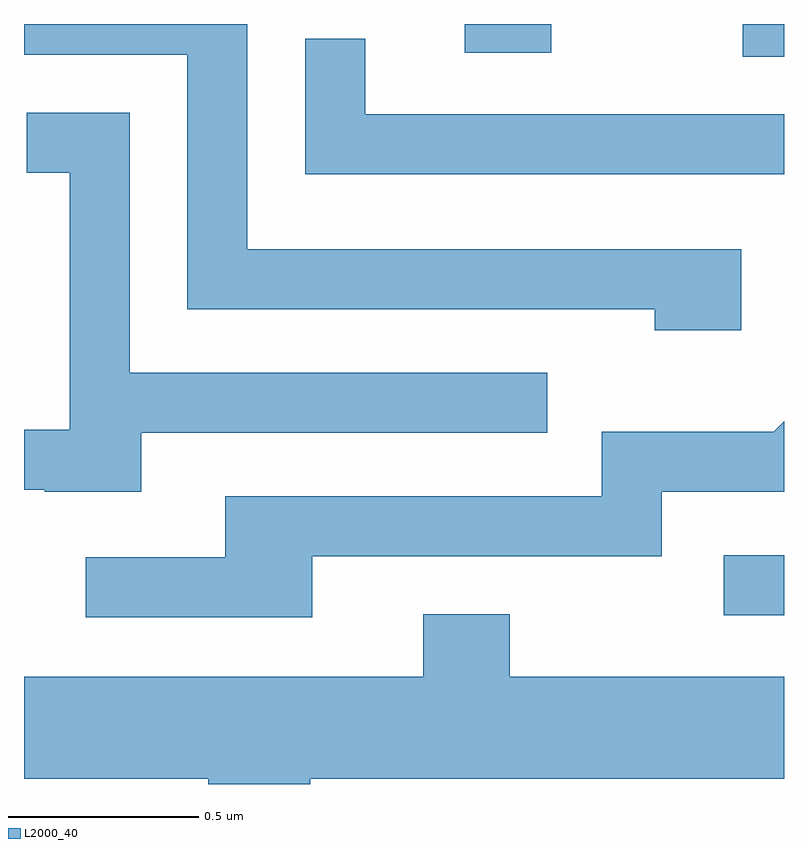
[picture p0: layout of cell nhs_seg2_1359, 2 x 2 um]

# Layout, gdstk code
import gdstk
lib = gdstk.Library(unit=1e-6, precision=1e-09)
def R(c, l, rs):  # rectangles x0, y0, x1, y1
    for r in rs: c.add(gdstk.rectangle(r[:2], r[2:], *l))
def P(c, l, *ps):  # polygons
    for p in ps: c.add(gdstk.Polygon(p, *l))
L2000_40 = (2000, 40)

nhs_seg2_1359 = lib.new_cell('nhs_seg2_1359')
R(nhs_seg2_1359, L2000_40, [(196.453,1104.246,196.611,1104.404), (196.503,1105.716,196.611,1105.802), (195.771,1105.726,195.999,1105.802)])
P(nhs_seg2_1359, L2000_40, [(196.499,1105.209),(195.199,1105.209),(195.199,1105.802),(194.611,1105.802),(194.611,1105.721),(195.041,1105.721),(195.041,1105.051),(196.271,1105.051),(196.271,1104.996),(196.499,1104.996)],
  [(196.611,1105.564),(195.509,1105.564),(195.509,1105.763),(195.351,1105.763),(195.351,1105.406),(196.611,1105.406)],
  [(194.919,1104.726),(195.988,1104.726),(195.988,1104.884),(194.889,1104.884),(194.889,1105.569),(194.618,1105.569),(194.618,1105.411),(194.731,1105.411),(194.731,1104.734),(194.611,1104.734),(194.611,1104.576),(194.665,1104.576),(194.665,1104.571),(194.919,1104.571)],
  [(195.369,1104.401),(196.289,1104.401),(196.289,1104.571),(196.611,1104.571),(196.611,1104.756),(196.584,1104.729),(196.131,1104.729),(196.131,1104.559),(195.141,1104.559),(195.141,1104.399),(194.773,1104.399),(194.773,1104.241),(195.369,1104.241)],
  [(195.364,1103.816),(196.611,1103.816),(196.611,1104.084),(195.889,1104.084),(195.889,1104.249),(195.661,1104.249),(195.661,1104.084),(194.611,1104.084),(194.611,1103.816),(195.096,1103.816),(195.096,1103.802),(195.364,1103.802)])

lib.write_gds('nhs_seg2_1359.gds')
